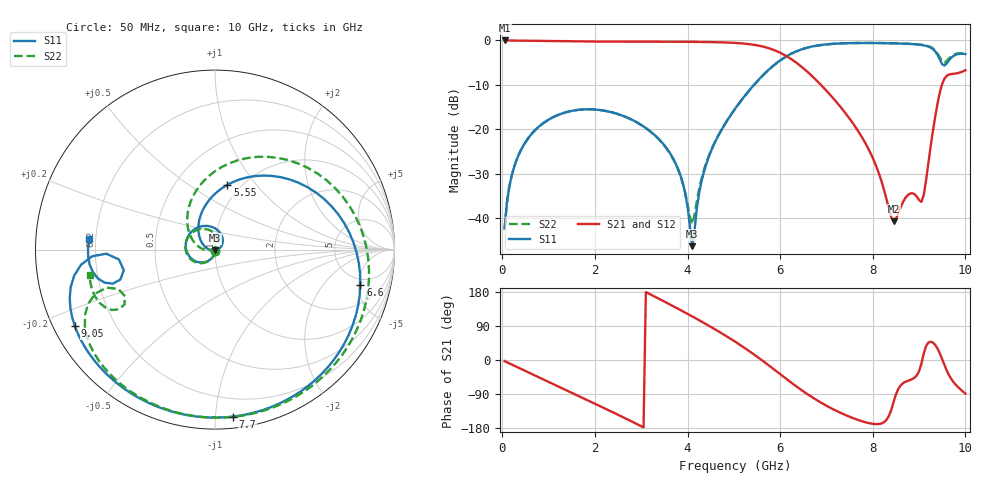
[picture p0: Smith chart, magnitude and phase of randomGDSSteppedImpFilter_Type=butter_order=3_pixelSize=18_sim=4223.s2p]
! freq	dB(S11)	phase(S11)	dB(S12)	phase(S12)
!  dB(S21)	phase(S21)	dB(S22)	phase(S22)
!S-par simulation data
#  GHz  S  DB  R 50
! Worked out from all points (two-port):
!   200 points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, 50 MHz to 10 GHz, reference 50 ohm
!   highest |S21| = -0.01 dB at 50 MHz (marker M1); lowest = -40.8 dB at 8.45 GHz (marker M2)
!   |S21| within 3 dB of the highest: start of sweep to 6.045 GHz
!   lowest |S11| = -46.4 dB at 4.1 GHz (marker M3), VSWR 1.01, Z = 50.2 - j0.454 ohm
!   |S11| at or under -10 dB: start of sweep to 5.436 GHz
!   |S22| runs from -42.4 to -0.6 dB; largest |S21 - S12| = 0
!   S11 on the Smith chart (normalised r, x): 50 MHz: 1.00, -0.02; 5.55 GHz: 0.87, +0.72; 6.6 GHz: 4.12, -5.26; 7.7 GHz: 0.07, -1.11; 9.05 GHz: 0.06, -0.25; 10 GHz: 0.18, +0.04
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0.05  -42.41 -90.5  -0.01 -3.0  -0.01 -3.0  -42.41 -90.3
0.2  -30.61 -101.5  -0.02 -11.7  -0.02 -11.7  -30.61 -100.7
0.5  -22.95 -120.2  -0.06 -29.0  -0.06 -29.0  -22.95 -118.4
1.75  -15.55 164.5  -0.24 -100.8  -0.24 -100.8  -15.56 172.3
2.65  -17.17 107.9  -0.27 -153.5  -0.27 -153.5  -17.20 123.6
3.4  -22.45 56.1  -0.28 160.5  -0.28 160.5  -22.53 84.3
3.85  -30.54 18.8  -0.30 131.7  -0.30 131.7  -30.61 68.1
4.1  -46.38 -70.8  -0.32 115.2  -0.32 115.2  -41.37 128.2
4.4  -28.02 174.5  -0.36 94.7  -0.36 94.7  -27.70 -175.5
5.05  -15.06 120.7  -0.57 46.6  -0.57 46.6  -15.09 145.7
5.55  -8.70 79.2  -1.20 4.5  -1.20 4.5  -8.74 103.6
6.1  -3.80 29.6  -3.31 -46.7  -3.31 -46.7  -3.84 51.0
6.6  -1.59 -13.5  -7.18 -91.1  -7.18 -91.1  -1.60 4.9
6.7  -1.35 -21.3  -8.14 -99.0  -8.14 -99.0  -1.36 -3.4
7.7  -0.58 -83.9  -20.69 -159.0  -20.69 -159.0  -0.57 -69.2
8.35  -0.63 -115.7  -38.04 -147.0  -38.04 -147.0  -0.61 -101.7
8.45  -0.66 -120.5  -40.82 -110.4  -40.82 -110.4  -0.63 -106.4
8.75  -0.76 -135.1  -34.92 -55.2  -34.92 -55.2  -0.73 -120.8
9.05  -1.02 -151.5  -36.39 -9.4  -36.39 -9.4  -0.96 -136.5
9.5  -5.38 -174.2  -9.75 1.6  -9.75 1.6  -4.71 -157.9
9.7  -3.85 -163.3  -7.58 -50.9  -7.58 -50.9  -3.53 -149.6
10  -3.07 175.3  -6.71 -88.7  -6.71 -88.7  -2.95 -168.7
